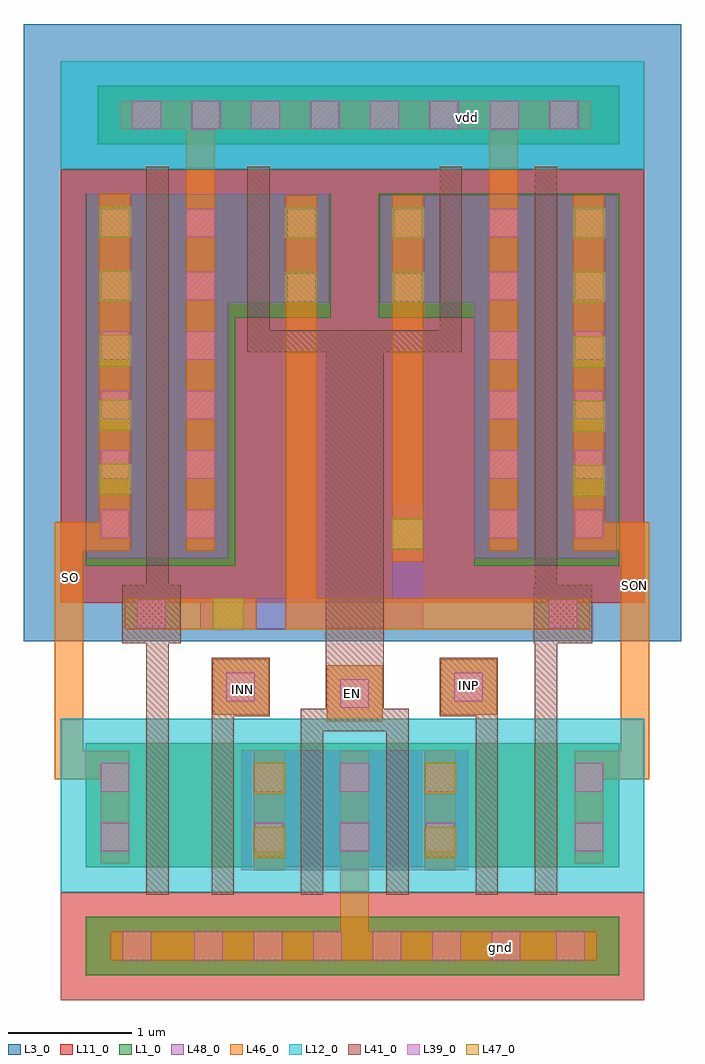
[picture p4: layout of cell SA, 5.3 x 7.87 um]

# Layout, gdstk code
import gdstk
lib = gdstk.Library(unit=1e-6, precision=1e-09)
def R(c, l, rs):  # rectangles x0, y0, x1, y1
    for r in rs: c.add(gdstk.rectangle(r[:2], r[2:], *l))
def A(c, l, x, y, w, h, nx, ny, dx, dy):  # array of equal rectangles
    R(c, l, [(x+i*dx, y+j*dy, x+i*dx+w, y+j*dy+h) for i in range(nx) for j in range(ny)])
L1_0 = (1, 0)
L3_0 = (3, 0)
L11_0 = (11, 0)
L12_0 = (12, 0)
L39_0 = (39, 0)
L41_0 = (41, 0)
L46_0 = (46, 0)
L47_0 = (47, 0)
L48_0 = (48, 0)

c_sa = lib.new_cell('SA')
R(c_sa, L1_0, [(-0.495,-5.62,3.81,-5.15), (-0.495,-4.75,3.81,-3.75), (-0.495,-2.315,0.71,0.685), (2.64,-2.315,3.81,0.685), (0.255,-0.315,1.48,0.685), (1.87,-0.315,3.04,0.685), (-0.4,1.085,3.81,1.555)])
R(c_sa, L3_0, [(-0.995,-2.925,4.31,2.055)])
R(c_sa, L11_0, [(-0.695,-5.82,4.01,-4.95), (-0.695,-2.615,4.01,0.885)])
R(c_sa, L12_0, [(-0.695,-4.95,4.01,-3.55), (-0.695,0.885,4.01,1.755)])
A(c_sa, L39_0, 0.38, -5.5, 0.23, 0.23, 6, 1, 0.48, 0)
A(c_sa, L39_0, 0.87, -4.62, 0.23, 0.23, 3, 2, 0.69, 0.48)
A(c_sa, L39_0, -0.375, -2.095, 0.23, 0.23, 1, 5, 0, 0.48)
A(c_sa, L39_0, 0.315, -2.095, 0.23, 0.23, 1, 5, 0, 0.48)
A(c_sa, L39_0, 2.76, -2.095, 0.23, 0.23, 1, 5, 0, 0.48)
A(c_sa, L39_0, 3.45, -2.095, 0.23, 0.23, 1, 5, 0, 0.48)
A(c_sa, L39_0, -0.12, 1.205, 0.23, 0.23, 6, 1, 0.48, 0)
R(c_sa, L39_0, [(-0.195,-5.5,0.035,-5.27), (3.3,-5.5,3.53,-5.27), (-0.375,-4.62,-0.145,-4.39), (3.45,-4.62,3.68,-4.39), (-0.375,-4.14,-0.145,-3.91), (3.45,-4.14,3.68,-3.91), (1.56,-3.46,1.79,-3.23), (0.64,-3.41,0.87,-3.18), (2.48,-3.41,2.71,-3.18), (-0.08,-2.82,0.15,-2.59), (3.24,-2.82,3.47,-2.59), (1.13,-0.185,1.36,0.045), (1.99,-0.185,2.22,0.045), (-0.375,0.335,-0.145,0.565), (0.315,0.335,0.545,0.565), (1.13,0.335,1.36,0.565), (1.99,0.335,2.22,0.565), (2.76,0.335,2.99,0.565), (3.45,0.335,3.68,0.565), (2.77,1.205,3,1.435), (3.25,1.205,3.48,1.435)])
R(c_sa, L41_0, [(-0.005,-4.97,0.175,0.905), (0.52,-4.97,0.7,-3.53), (1.24,-4.97,1.42,-3.53), (1.93,-4.97,2.11,-3.53), (2.65,-4.97,2.83,-3.53), (3.13,-4.97,3.31,0.905), (1.24,-3.65,2.11,-3.47), (1.44,-3.65,1.91,-0.415), (0.52,-3.53,0.99,-3.06), (2.36,-3.53,2.83,-3.06), (-0.2,-2.94,0.27,-2.47), (3.12,-2.94,3.59,-2.47), (0.81,-0.595,0.99,0.905), (0.81,-0.595,2.54,-0.415), (2.36,-0.595,2.54,0.905)])
R(c_sa, L46_0, [(-0.295,-5.5,3.63,-5.27), (1.56,-5.5,1.79,-3.81), (0.86,-4.775,1.11,-3.805), (2.24,-4.775,2.49,-3.805), (-0.375,-4.72,-0.145,-3.81), (3.45,-4.72,3.68,-3.81), (-0.745,-4.04,-0.145,-3.81), (-0.745,-4.04,-0.515,-1.965), (3.45,-4.04,4.05,-3.81), (3.82,-4.04,4.05,-1.965), (1.45,-3.57,1.9,-3.12), (0.53,-3.52,0.98,-3.07), (2.37,-3.52,2.82,-3.07), (-0.18,-2.83,0.88,-2.58), (1.12,-2.83,3.57,-2.58), (1.12,-2.82,1.37,0.675), (1.98,-2.285,2.23,0.675), (-0.745,-2.195,-0.145,-1.965), (-0.385,-2.195,-0.135,0.685), (0.315,-2.195,0.545,1.435), (2.76,-2.195,2.99,1.435), (3.44,-2.195,3.69,0.675), (3.45,-2.195,4.05,-1.965), (-0.22,1.205,3.58,1.435)])
A(c_sa, L47_0, 3.44, -1.755, 0.25, 0.25, 1, 5, 0, 0.52)
A(c_sa, L47_0, -0.385, -1.745, 0.25, 0.25, 1, 5, 0, 0.52)
R(c_sa, L47_0, [(0.86,-4.675,1.11,-4.425), (2.24,-4.675,2.49,-4.425), (0.86,-4.155,1.11,-3.905), (2.24,-4.155,2.49,-3.905), (0.53,-2.83,0.78,-2.58), (1.98,-2.185,2.23,-1.935), (1.12,-0.195,1.37,0.055), (1.98,-0.195,2.23,0.055), (1.12,0.325,1.37,0.575), (1.98,0.325,2.23,0.575)])
R(c_sa, L48_0, [(0.76,-4.775,2.59,-3.805), (0.43,-2.83,2.23,-2.58), (1.98,-2.83,2.23,-1.835), (-0.485,-2.255,0.655,0.575), (2.64,-2.255,3.79,0.575), (-0.485,-0.195,1.47,0.685), (1.88,-0.195,3.79,0.675)])
c_sa.add(gdstk.Label('vdd', (2.585,1.3), layer=101, texttype=0))
c_sa.add(gdstk.Label('gnd', (2.85,-5.395), layer=101, texttype=0))
c_sa.add(gdstk.Label('SO', (-0.62,-2.415), layer=101, texttype=0))
c_sa.add(gdstk.Label('SON', (3.935,-2.475), layer=101, texttype=0))
c_sa.add(gdstk.Label('INN', (0.77,-3.315), layer=101, texttype=0))
c_sa.add(gdstk.Label('EN', (1.66,-3.345), layer=101, texttype=0))
c_sa.add(gdstk.Label('INP', (2.595,-3.285), layer=101, texttype=0))

lib.write_gds('SA.gds')
